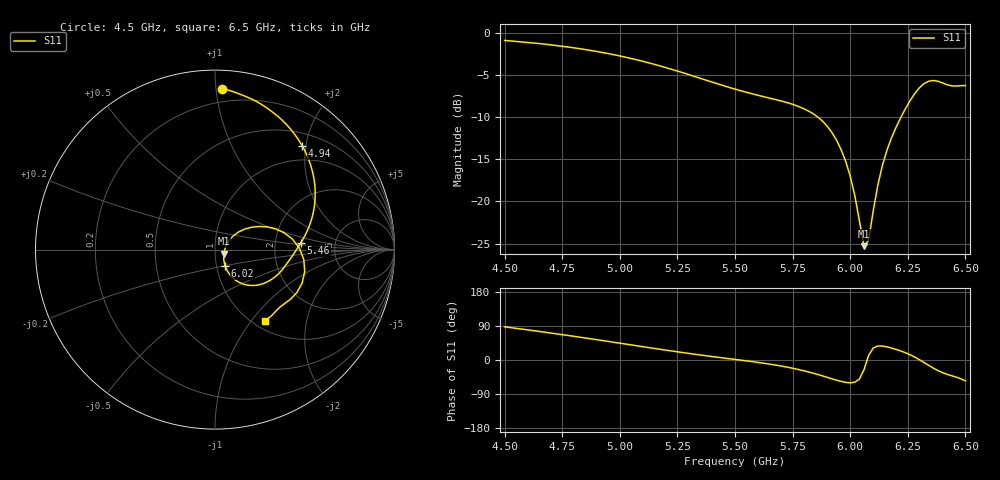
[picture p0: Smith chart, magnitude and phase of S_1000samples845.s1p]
! TOUCHSTONE file generated by CST MICROWAVE STUDIO
! Date and time: Sat Oct 29 14:10:55 2022
! Project name: L.cst
! Parameters = {Di=1.27; Epsilon_r=1.56; InnerDiameter=1.27; Length=2; Lf=10; Lg=60; OuterConductorThickness=0.2921; OuterDiameter=3.6; Wf=3; Wp=41.2; de=1.5; df=6.8; g=0.8; gx=1.43753; gy=3.91459; h=2.34; hf=1.524; px=11.7688; py=13.9974; w=9.7; wx=10.3313; wy=10.0828}
! Header version: 2018
! Port assignment regex: !\s*Touchstone port\s*([0-9]+)\s*=\s*(CST MWS port|CST DS port)\s*([0-9]+|Zmin|Zmax)\s*\(\"(.*)\"\)(\s*mode\s*([0-9]+))?.*
! Touchstone port assignment:
! Touchstone port 1 = CST MWS port 1 ("")
# GHz S DB R 50
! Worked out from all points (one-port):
!   101 points, 4.5 GHz to 6.5 GHz, reference 50 ohm
!   lowest |S11| = -25.3 dB at 6.06 GHz (marker M1), VSWR 1.11, Z = 55.1 - j2.57 ohm
!   |S11| at or under -10 dB: 5.859 GHz to 6.221 GHz (361.8 MHz wide, 5.99 % of centre)
!   S11 on the Smith chart (normalised r, x): 4.5 GHz: 0.11, +1.04; 4.94 GHz: 0.72, +1.93; 5.46 GHz: 2.82, +0.28; 6.02 GHz: 1.10, -0.21; 6.5 GHz: 1.12, -1.17
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4.5  -0.94 87.5
4.64  -1.28 76.3
4.76  -1.66 66.1
4.94  -2.44 50.0
5  -2.77 44.4
5.12  -3.55 33.3
5.26  -4.64 20.8
5.46  -6.37 4.6
5.5  -6.70 1.5
5.76  -8.60 -23.1
5.84  -9.63 -34.9
5.9  -11.08 -45.7
5.96  -13.84 -56.3
6  -17.00 -60.1
6.02  -19.32 -58.6
6.06  -25.31 -25.4
6.08  -24.58 12.2
6.12  -18.06 37.0
6.14  -15.72 36.9
6.16  -13.90 34.6
6.22  -10.04 23.8
6.26  -8.06 13.9
6.3  -6.55 1.0
6.34  -5.77 -13.8
6.38  -5.76 -27.6
6.4  -5.96 -33.2
6.44  -6.32 -41.4
6.5  -6.28 -55.1
